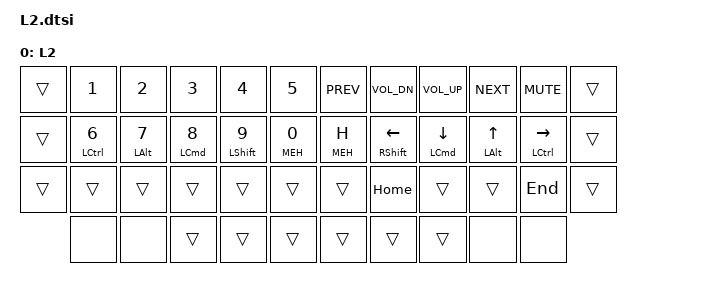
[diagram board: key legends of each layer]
/**
 * Num - nav layer
 */

/ {
  keymap {
    compatible = "zmk,keymap";

    layer_2 {
      display-name = "L2";
      bindings = <
// ╭───────────────┬───────────────┬───────────────┬───────────────┬───────────────┬───────────────╮   ╭───────────────┬───────────────┬───────────────┬───────────────┬───────────────┬───────────────╮
// │0              │1              │2              │3              │4              │5              │   │6              │7              │8              │9              │10             │11             │
    &trans          &kp N1          &kp N2          &kp N3          &kp N4          &kp N5              &kp C_PREV      &kp C_VOL_DN    &kp C_VOL_UP    &kp C_NEXT      &kp C_MUTE      &trans
// ├───────────────├───────────────┼───────────────┼───────────────┼───────────────┼───────────────┤   ├───────────────├───────────────┼───────────────┼───────────────┼───────────────┼───────────────┤
// │12             │13             │14             │15             │16             │17             │   │18             │19             │20             │21             │22             │23             │
    &trans          &hrml LCTRL N6  &hrml LALT N7   &hrml LCMD N8   &hrml LSHFT N9  &hrml MEH N0        &hrmr MEH H     &hrmr RSHFT LEFT &hrmr LCMD DOWN &hrmr LALT UP  &hrmr LCTRL RIGHT &trans
// ├───────────────├───────────────┼───────────────┼───────────────┼───────────────┼───────────────┤   ├───────────────├───────────────┼───────────────┼───────────────┼───────────────┼───────────────┤
// │24             │25             │26             │27             │28             │29             │   │30             │31             │32             │33             │34             │35             │
    &trans          &trans          &trans          &trans          &trans          &trans              &trans          &kp HOME        &trans          &trans          &kp END         &trans
// ╰───────────────┼───────────────┼───────────────┼───────────────┼───────────────┼───────────────┤   ├───────────────├───────────────┼───────────────┼───────────────┼───────────────┼───────────────╯
//                 │36             │37             │38             │39             │40             │   │41             │42             │43             │44             │45             │
                    &none           &none           &trans          &trans          &trans              &trans          &trans          &trans          &none           &none
//                 ╰───────────────┴───────────────┴───────────────┴───────────────┴───────────────╯   ╰───────────────┴───────────────┴───────────────┴───────────────┴───────────────╯
      >;
    };
  };
};
